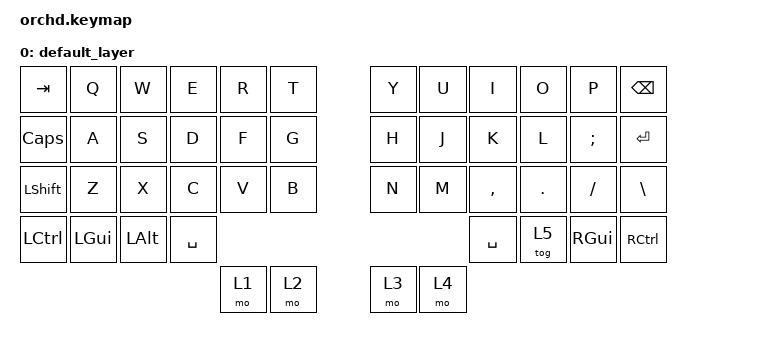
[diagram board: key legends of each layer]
/*
 * Copyright (c) 2020 The ZMK Contributors
 *
 * SPDX-License-Identifier: MIT
 */

#include <behaviors.dtsi>
#include <dt-bindings/zmk/keys.h>
#include <dt-bindings/zmk/bt.h>

/ {
        keymap {
                compatible = "zmk,keymap";

                default_layer {
// -----------------------------------------------------------------------------------------
// |  TAB |  Q  |  W  |  E  |  R  |  T  |   |  Y  |  U   |  I  |  O  |  P  | BSPC |
// | CTRL |  A  |  S  |  D  |  F  |  G  |   |  H  |  J   |  K  |  L  |  ;  |  '   |
// | SHFT |  Z  |  X  |  C  |  V  |  B  |   |  N  |  M   |  ,  |  .  |  /  | ESC  |
//                    | GUI | LWR | SPC |   | ENT | RSE  | ALT |
                        bindings = <
    &kp TAB  &kp Q  &kp W  &kp E  &kp R  &kp T          &kp Y &kp U &kp I &kp O &kp P &kp BSPC
    &kp CAPS &kp A &kp S &kp D &kp F &kp G              &kp H &kp J &kp K &kp L &kp SEMI &kp RET
    &kp LSHIFT &kp Z &kp X &kp C &kp V &kp B            &kp N &kp M &kp COMMA &kp DOT &kp FSLH &kp BSLH
    &kp LCTRL &kp LGUI &kp LALT &kp SPACE               &kp SPACE &tog 5 &kp RGUI &kp RCTRL
                       &mo 1 &mo 2             &mo 3 &mo 4
                        >;
                };
//                 first_layer {
// // -----------------------------------------------------------------------------------------
// // |  TAB |  Q  |  W  |  E  |  R  |  T  |   |  Y  |  U   |  I  |  O  |  P  | BSPC |
// // | CTRL |  A  |  S  |  D  |  F  |  G  |   |  H  |  J   |  K  |  L  |  ;  |  '   |
// // | SHFT |  Z  |  X  |  C  |  V  |  B  |   |  N  |  M   |  ,  |  .  |  /  | ESC  |
// //                    | GUI | LWR | SPC |   | ENT | RSE  | ALT |
//                         bindings = <
//     &kp TAB  &kp Q  &kp W  &kp E  &kp R  &kp T          &kp Y &kp U &kp I &kp O &kp P &kp BSPC
//     &kp CAPS &kp A &kp S &kp D &kp F &kp G              &kp H &kp J &kp K &kp L &kp SEMI &kp RET
//     &kp LSHIFT &kp Z &kp X &kp C &kp V &kp B            &kp N &kp M &kp COMMA &kp DOT &kp FSLH &kp BSLH
//     &kp LCTRL &kp LGUI &kp LALT &kp SPACE               &kp SPACE &kp mo5 &kp RGUI &kp RCTRL
//                        &mo 1 &mo 2             &mo 3 &mo 4
//                         >;
//                 };
//                 second_layer {
// // -----------------------------------------------------------------------------------------
// // |  TAB |  Q  |  W  |  E  |  R  |  T  |   |  Y  |  U   |  I  |  O  |  P  | BSPC |
// // | CTRL |  A  |  S  |  D  |  F  |  G  |   |  H  |  J   |  K  |  L  |  ;  |  '   |
// // | SHFT |  Z  |  X  |  C  |  V  |  B  |   |  N  |  M   |  ,  |  .  |  /  | ESC  |
// //                    | GUI | LWR | SPC |   | ENT | RSE  | ALT |
//                         bindings = <
//     &kp TAB  &kp Q  &kp W  &kp E  &kp R  &kp T          &kp Y &kp U &kp I &kp O &kp P &kp BSPC
//     &kp CAPS &kp A &kp S &kp D &kp F &kp G              &kp H &kp J &kp K &kp L &kp SEMI &kp RET
//     &kp LSHIFT &kp Z &kp X &kp C &kp V &kp B            &kp N &kp M &kp COMMA &kp DOT &kp FSLH &kp BSLH
//     &kp LCTRL &kp LGUI &kp LALT &kp SPACE               &kp SPACE &kp mo5 &kp RGUI &kp RCTRL
//                        &mo 1 &mo 2             &mo 3 &mo 4
//                         >;
//                 };
//                 third_layer {
// // -----------------------------------------------------------------------------------------
// // |  TAB |  Q  |  W  |  E  |  R  |  T  |   |  Y  |  U   |  I  |  O  |  P  | BSPC |
// // | CTRL |  A  |  S  |  D  |  F  |  G  |   |  H  |  J   |  K  |  L  |  ;  |  '   |
// // | SHFT |  Z  |  X  |  C  |  V  |  B  |   |  N  |  M   |  ,  |  .  |  /  | ESC  |
// //                    | GUI | LWR | SPC |   | ENT | RSE  | ALT |
//                         bindings = <
//     &kp TAB  &kp Q  &kp W  &kp E  &kp R  &kp T          &kp Y &kp U &kp I &kp O &kp P &kp BSPC
//     &kp CAPS &kp A &kp S &kp D &kp F &kp G              &kp H &kp J &kp K &kp L &kp SEMI &kp RET
//     &kp LSHIFT &kp Z &kp X &kp C &kp V &kp B            &kp N &kp M &kp COMMA &kp DOT &kp FSLH &kp BSLH
//     &kp LCTRL &kp LGUI &kp LALT &kp SPACE               &kp SPACE &kp mo5 &kp RGUI &kp RCTRL
//                        &mo 1 &mo 2             &mo 3 &mo 4
//                         >;
//                 };
//                 forth_layer {
// // -----------------------------------------------------------------------------------------
// // |  TAB |  Q  |  W  |  E  |  R  |  T  |   |  Y  |  U   |  I  |  O  |  P  | BSPC |
// // | CTRL |  A  |  S  |  D  |  F  |  G  |   |  H  |  J   |  K  |  L  |  ;  |  '   |
// // | SHFT |  Z  |  X  |  C  |  V  |  B  |   |  N  |  M   |  ,  |  .  |  /  | ESC  |
// //                    | GUI | LWR | SPC |   | ENT | RSE  | ALT |
//                         bindings = <
//     &kp TAB  &kp Q  &kp W  &kp E  &kp R  &kp T          &kp Y &kp U &kp I &kp O &kp P &kp BSPC
//     &kp CAPS &kp A &kp S &kp D &kp F &kp G              &kp H &kp J &kp K &kp L &kp SEMI &kp RET
//     &kp LSHIFT &kp Z &kp X &kp C &kp V &kp B            &kp N &kp M &kp COMMA &kp DOT &kp FSLH &kp BSLH
//     &kp LCTRL &kp LGUI &kp LALT &kp SPACE               &kp SPACE &kp mo5 &kp RGUI &kp RCTRL
//                        &mo 1 &mo 2             &mo 3 &mo 4
//                         >;
//                 };
//                 numpad {
// // -----------------------------------------------------------------------------------------
// // |  TAB |  Q  |  W  |  E  |  R  |  T  |   |  Y  |  U   |  I  |  O  |  P  | BSPC |
// // | CTRL |  A  |  S  |  D  |  F  |  G  |   |  H  |  J   |  K  |  L  |  ;  |  '   |
// // | SHFT |  Z  |  X  |  C  |  V  |  B  |   |  N  |  M   |  ,  |  .  |  /  | ESC  |
// //                    | GUI | LWR | SPC |   | ENT | RSE  | ALT |
//                         bindings = <
//     &kp TAB  &kp Q  &kp W  &kp E  &kp R  &kp T          &kp Y &kp U &kp I &kp O &kp P &kp BSPC
//     &kp CAPS &kp A &kp S &kp D &kp F &kp G              &kp H &kp J &kp K &kp L &kp SEMI &kp RET
//     &kp LSHIFT &kp Z &kp X &kp C &kp V &kp B            &kp N &kp M &kp COMMA &kp DOT &kp FSLH &kp BSLH
//     &kp LCTRL &kp LGUI &kp LALT &kp SPACE               &kp SPACE &kp mo5 &kp RGUI &kp RCTRL
//                        &mo 1 &mo 2             &mo 3 &mo 4
//                         >;
//                 };
                
                
        };
};
